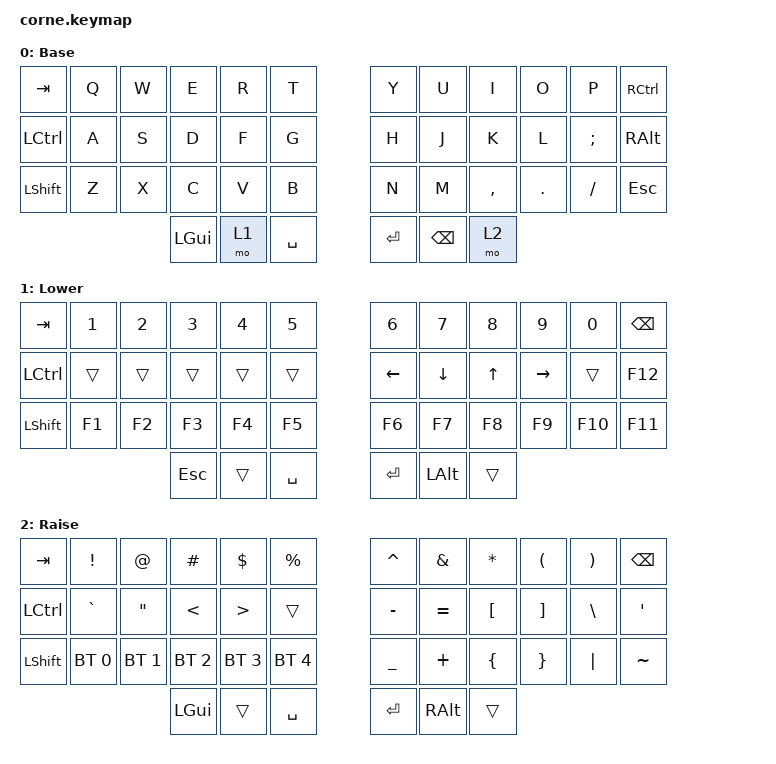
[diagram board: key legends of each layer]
/*
 * Copyright (c) 2020 The ZMK Contributors
 *
 * SPDX-License-Identifier: MIT
 */

#include <behaviors.dtsi>
#include <dt-bindings/zmk/keys.h>
#include <dt-bindings/zmk/bt.h>

/ {
        keymap {
                compatible = "zmk,keymap";

                default_layer {
                label = "Base";
// -----------------------------------------------------------------------------------------
// |  TAB |  Q  |  W  |  E  |  R  |  T  |   |  Y  |  U   |  I  |  O  |  P  | CTRL |
// | CTRL |  A  |  S  |  D  |  F  |  G  |   |  H  |  J   |  K  |  L  |  ;  | ALT  |
// | SHFT |  Z  |  X  |  C  |  V  |  B  |   |  N  |  M   |  ,  |  .  |  /  | ESC  |
//                    | GUI | LWR | SPC |   | ENT |  BKSP | RSE |
                        bindings = <
   &kp TAB   &kp Q &kp W &kp E &kp R &kp T   &kp Y &kp U  &kp I     &kp O   &kp P    &kp RCTRL
   &kp LCTRL &kp A &kp S &kp D &kp F &kp G   &kp H &kp J  &kp K     &kp L   &kp SEMI &kp RALT
   &kp LSHFT &kp Z &kp X &kp C &kp V &kp B   &kp N &kp M  &kp COMMA &kp DOT &kp FSLH &kp ESC
             &kp LGUI    &mo 1 &kp SPACE     &kp RET &kp BKSP &mo 2 
                        >;
                };
                lower_layer {
                label = "Lower";
// -----------------------------------------------------------------------------------------
// |  TAB |  1  |  2  |  3  |  4  |  5  |   |  6  |  7  |  8  |  9  |  0  | BKSP |
// | CRTL |     |     |     |     |     |   | LFT | DWN |  UP | RGT |     | F12  |
// | SHFT | F1  | F2  | F3  | F4  | F5  |   | F6  | F7  | F8  | F9  | F10 | F11  |
//                    | ESC |     | SPC |   | ENT | ALT |     |
                        bindings = <
   &kp TAB    &kp N1       &kp N2       &kp N3       &kp N4       &kp N5         &kp N6   &kp N7   &kp N8 &kp N9    &kp N0  &kp BSPC
   &kp LCTRL  &trans &trans &trans &trans &trans   &kp LEFT &kp DOWN &kp UP &kp RIGHT &trans  &kp F12
   &kp LSHFT  &kp F1       &kp F2       &kp F3       &kp F4       &kp F5         &kp F6   &kp F7   &kp F8 &kp F9    &kp F10 &kp F11
                                        &kp ESC      &trans       &kp SPACE      &kp RET  &kp LALT &trans 
                        >;
                };

                raise_layer {
                label = "Raise";
// -----------------------------------------------------------------------------------------
// |  TAB |  !  |  @  |  #  |  $  |  %  |   |  ^  |  &  |  *  |  (  |  )  | BKSP |
// | CTRL |  `  |  "  |  <  |  >  |     |   |  -  |  =  |  [  |  ]  |  \  |  '   |
// | SHFT | BT1 | BT2 | BT3 | BT4 | BT5 |   |  _  |  +  |  {  |  }  | "|" |  ~   |
//                    | GUI |     | SPC |   | ENT | ALT |     |
                        bindings = <
   &kp  TAB  &kp EXCL  &kp AT &kp HASH &kp DLLR &kp PRCNT   &kp CARET &kp AMPS  &kp ASTRK &kp LPAR &kp RPAR &kp BSPC
   &kp LCTRL &kp GRAVE &kp DQT &kp LT   &kp GT   &trans     &kp MINUS &kp EQUAL &kp LBKT  &kp RBKT &kp BSLH &kp SQT 
   &kp LSHFT &bt BT_SEL 0    &bt BT_SEL 1 &bt BT_SEL 2   &bt BT_SEL 3   &bt BT_SEL 4      &kp UNDER &kp PLUS  &kp LBRC  &kp RBRC &kp PIPE &kp TILDE
                       &kp LGUI &trans &kp SPACE            &kp RET   &kp RALT  &trans    
                        >;
                };
        };
};
